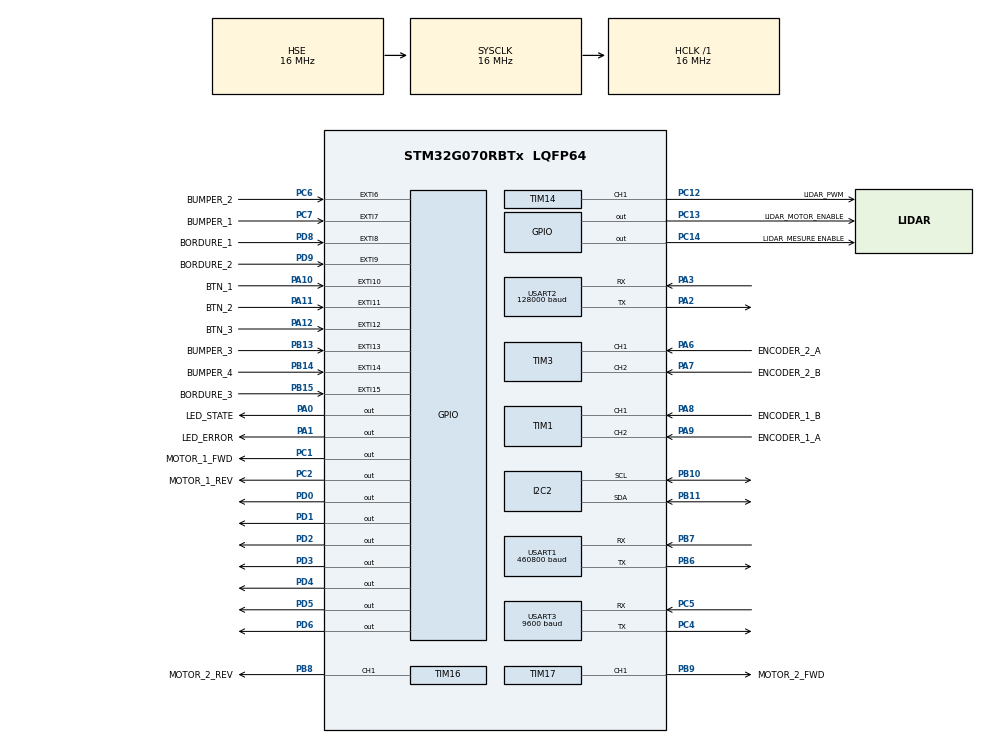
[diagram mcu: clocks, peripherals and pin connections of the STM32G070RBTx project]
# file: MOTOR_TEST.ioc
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Dma.Request0=USART2_RX
Dma.USART2_RX.0.Direction=DMA_PERIPH_TO_MEMORY
Dma.USART2_RX.0.EventEnable=DISABLE
Dma.USART2_RX.0.Instance=DMA1_Channel1
Dma.USART2_RX.0.MemDataAlignment=DMA_MDATAALIGN_BYTE
Dma.USART2_RX.0.MemInc=DMA_MINC_ENABLE
Dma.USART2_RX.0.Mode=DMA_CIRCULAR
Dma.USART2_RX.0.PeriphDataAlignment=DMA_PDATAALIGN_BYTE
Dma.USART2_RX.0.PeriphInc=DMA_PINC_DISABLE
Dma.USART2_RX.0.Polarity=HAL_DMAMUX_REQ_GEN_RISING
Dma.USART2_RX.0.Priority=DMA_PRIORITY_LOW
Dma.USART2_RX.0.RequestNumber=1
Dma.USART2_RX.0.SignalID=NONE
Dma.USART2_RX.0.SyncEnable=DISABLE
Dma.USART2_RX.0.SyncPolarity=HAL_DMAMUX_SYNC_NO_EVENT
Dma.USART2_RX.0.SyncRequestNumber=1
Dma.USART2_RX.0.SyncSignalID=NONE
Mcu.Family=STM32G0
Mcu.Name=STM32G070RBTx
Mcu.Package=LQFP64
NVIC.DMA1_Channel1_IRQn=true\:0\:0\:false\:false\:true\:false\:true\:true
NVIC.EXTI4_15_IRQn=true\:0\:0\:false\:false\:true\:true\:true\:true
NVIC.TIM15_IRQn=true\:3\:0\:false\:false\:true\:false\:true\:true
NVIC.TimeBase=TIM15_IRQn
NVIC.TimeBaseIP=TIM15
NVIC.USART3_4_IRQn=true\:0\:0\:false\:false\:true\:true\:true\:true
PA0.GPIO_Label=LED_STATE
PA0.Signal=GPIO_Output
PA1.GPIO_Label=LED_ERROR
PA1.Signal=GPIO_Output
PA10.GPIO_Label=BTN_1
PA10.GPIO_ModeDefaultEXTI=GPIO_MODE_IT_FALLING
PA10.GPIO_PuPd=GPIO_PULLUP
PA10.Signal=GPXTI10
PA11\ [PA9].GPIO_Label=BTN_2
PA11\ [PA9].GPIO_ModeDefaultEXTI=GPIO_MODE_IT_FALLING
PA11\ [PA9].GPIO_PuPd=GPIO_PULLUP
PA11\ [PA9].Signal=GPXTI11
PA12\ [PA10].GPIO_Label=BTN_3
PA12\ [PA10].GPIO_ModeDefaultEXTI=GPIO_MODE_IT_FALLING
PA12\ [PA10].GPIO_PuPd=GPIO_PULLUP
PA12\ [PA10].Signal=GPXTI12
PA13.Mode=Serial_Wire
PA13.Signal=SYS_SWDIO
PA14-BOOT0.Mode=Serial_Wire
PA14-BOOT0.Signal=SYS_SWCLK
PA2.Mode=Asynchronous
PA2.Signal=USART2_TX
PA3.Mode=Asynchronous
PA3.Signal=USART2_RX
PA6.GPIO_Label=ENCODER_2_A
PA6.Signal=S_TIM3_CH1
PA7.GPIO_Label=ENCODER_2_B
PA7.Signal=S_TIM3_CH2
PA8.GPIO_Label=ENCODER_1_B
PA8.Signal=S_TIM1_CH1
PA9.GPIO_Label=ENCODER_1_A
PA9.Signal=S_TIM1_CH2
PB10.Mode=I2C
PB10.Signal=I2C2_SCL
PB11.Mode=I2C
PB11.Signal=I2C2_SDA
PB13.GPIO_Label=BUMPER_3
PB13.GPIO_ModeDefaultEXTI=GPIO_MODE_IT_FALLING
PB13.Signal=GPXTI13
PB14.GPIO_Label=BUMPER_4
PB14.GPIO_ModeDefaultEXTI=GPIO_MODE_IT_FALLING
PB14.Signal=GPXTI14
PB15.GPIO_Label=BORDURE_3
PB15.GPIO_ModeDefaultEXTI=GPIO_MODE_IT_FALLING
PB15.Signal=GPXTI15
PB6.Mode=Asynchronous
PB6.Signal=USART1_TX
PB7.Mode=Asynchronous
PB7.Signal=USART1_RX
PB8.GPIO_Label=MOTOR_2_REV
PB8.Signal=S_TIM16_CH1
PB9.GPIO_Label=MOTOR_2_FWD
PB9.Signal=S_TIM17_CH1
PC1.GPIO_Label=MOTOR_1_FWD
PC1.Signal=GPIO_Output
PC12.GPIO_Label=LIDAR_PWM
PC12.Signal=S_TIM14_CH1
PC13.GPIO_Label=LIDAR_MOTOR_ENABLE
PC13.Signal=GPIO_Output
PC14-OSC32_IN\ (PC14).GPIO_Label=LIDAR_MESURE ENABLE
PC14-OSC32_IN\ (PC14).Signal=GPIO_Output
PC2.GPIO_Label=MOTOR_1_REV
PC2.Signal=GPIO_Output
PC4.Mode=Asynchronous
PC4.Signal=USART3_TX
PC5.Mode=Asynchronous
PC5.Signal=USART3_RX
PC6.GPIO_Label=BUMPER_2
PC6.GPIO_ModeDefaultEXTI=GPIO_MODE_IT_FALLING
PC6.Signal=GPXTI6
PC7.GPIO_Label=BUMPER_1
PC7.GPIO_ModeDefaultEXTI=GPIO_MODE_IT_FALLING
PC7.Signal=GPXTI7
PD0.Signal=GPIO_Output
PD1.Signal=GPIO_Output
PD2.Signal=GPIO_Output
PD3.Signal=GPIO_Output
PD4.Signal=GPIO_Output
PD5.Signal=GPIO_Output
PD6.Signal=GPIO_Output
PD8.GPIO_Label=BORDURE_1
PD8.GPIO_ModeDefaultEXTI=GPIO_MODE_IT_FALLING
PD8.Signal=GPXTI8
PD9.GPIO_Label=BORDURE_2
PD9.GPIO_ModeDefaultEXTI=GPIO_MODE_IT_FALLING
PD9.Signal=GPXTI9
PF0-OSC_IN\ (PF0).Mode=HSE-External-Oscillator
PF0-OSC_IN\ (PF0).Signal=RCC_OSC_IN
PF1-OSC_OUT\ (PF1).Mode=HSE-External-Oscillator
PF1-OSC_OUT\ (PF1).Signal=RCC_OSC_OUT
ProjectManager.HeapSize=0x200
ProjectManager.StackSize=0x400
ProjectManager.TargetToolchain=STM32CubeIDE
RCC.ADCFreq_Value=16000000
RCC.AHBFreq_Value=16000000
RCC.CortexFreq_Value=16000000
RCC.EXTERNAL_CLOCK_VALUE=48000
RCC.HCLKFreq_Value=16000000
RCC.HSE_VALUE=16000000
RCC.HSI_VALUE=16000000
RCC.LSE_VALUE=32768
RCC.PLLSourceVirtual=RCC_PLLSOURCE_HSE
RCC.SYSCLKFreq_VALUE=16000000
RCC.SYSCLKSource=RCC_SYSCLKSOURCE_HSE
RCC.VCOOutputFreq_Value=128000000
SH.S_TIM14_CH1.0=TIM14_CH1,PWM Generation1 CH1
SH.S_TIM16_CH1.0=TIM16_CH1,PWM Generation1 CH1
SH.S_TIM17_CH1.0=TIM17_CH1,PWM Generation1 CH1
SH.S_TIM1_CH1.0=TIM1_CH1,Encoder_Interface
SH.S_TIM1_CH2.0=TIM1_CH2,Encoder_Interface
SH.S_TIM3_CH1.0=TIM3_CH1,Encoder_Interface
SH.S_TIM3_CH2.0=TIM3_CH2,Encoder_Interface
TIM14.Channel=TIM_CHANNEL_1
TIM16.Channel=TIM_CHANNEL_1
TIM16.Period=127
TIM16.Prescaler=4
TIM17.Channel=TIM_CHANNEL_1
TIM17.Prescaler=4
USART1.BaudRate=460800
USART1.VirtualMode-Asynchronous=VM_ASYNC
USART2.BaudRate=128000
USART2.VirtualMode-Asynchronous=VM_ASYNC
USART3.BaudRate=9600
USART3.VirtualMode-Asynchronous=VM_ASYNC
VP_SYS_VS_DBSignals.Mode=DisableDeadBatterySignals
VP_SYS_VS_tim15.Mode=TIM15
VP_TIM14_VS_ClockSourceINT.Mode=Enable_Timer
VP_TIM16_VS_ClockSourceINT.Mode=Enable_Timer
VP_TIM17_VS_ClockSourceINT.Mode=Enable_Timer
VP_TIM6_VS_ClockSourceINT.Mode=Enable_Timer
VP_TIM7_VS_ClockSourceINT.Mode=Enable_Timer
board=custom

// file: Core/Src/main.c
/* USER CODE BEGIN Header */
/**
  ******************************************************************************
  * @file           : main.c
  * @brief          : Main program body
  ******************************************************************************
  * @attention
  *
  * Copyright (c) 2024 STMicroelectronics.
  * All rights reserved.
  *
  * This software is licensed under terms that can be found in the LICENSE file
  * in the root directory of this software component.
  * If no LICENSE file comes with this software, it is provided AS-IS.
  *
  ******************************************************************************
  */
/* USER CODE END Header */
#include "main.h"
#include "dma.h"
#include "i2c.h"
#include "tim.h"
#include "usart.h"
#include "gpio.h"

/* USER CODE BEGIN Includes */
#include "../../MOTOR/motor_driver.h"
/* USER CODE END Includes */

void SystemClock_Config(void);

/* USER CODE BEGIN 0 */
typedef enum robot_state{
	IDLE,
	CAT,
	MOUSE,
	AVOID_EDGE,

}robot_state_t;
/* USER CODE END 0 */

int main(void)
{

  /* MCU Configuration--------------------------------------------------------*/

  /* Reset of all peripherals, Initializes the Flash interface and the Systick. */
  HAL_Init();

  /* Configure the system clock */
  SystemClock_Config();

  /* Initialize all configured peripherals */
  MX_GPIO_Init();
  MX_DMA_Init();
  MX_I2C2_Init();
  MX_TIM1_Init();
  MX_TIM3_Init();
  MX_TIM6_Init();
  MX_TIM7_Init();
  MX_TIM14_Init();
  MX_TIM16_Init();
  MX_TIM17_Init();
  MX_USART1_UART_Init();
  MX_USART3_UART_Init();
  MX_USART2_UART_Init();
  /* USER CODE BEGIN 2 */
	robot_state_t state = IDLE;
	motor_t L_motor;
	motor_t R_motor;
	init_motors(&L_motor, &R_motor);

	forward_mode(0, &R_motor);
	HAL_Delay(5000);
	standby_mode(&R_motor);

	forward_mode(0, &L_motor);
	HAL_Delay(5000);
	standby_mode(&L_motor);

	stop();

  /* USER CODE END 2 */

  /* Infinite loop */
  while (1)
  {

  }
}

void SystemClock_Config(void)
{
  RCC_OscInitTypeDef RCC_OscInitStruct = {0};
  RCC_ClkInitTypeDef RCC_ClkInitStruct = {0};

  /** Configure the main internal regulator output voltage
  */
  HAL_PWREx_ControlVoltageScaling(PWR_REGULATOR_VOLTAGE_SCALE1);

  /** Initializes the RCC Oscillators according to the specified parameters
  * in the RCC_OscInitTypeDef structure.
  */
  RCC_OscInitStruct.OscillatorType = RCC_OSCILLATORTYPE_HSE;
  RCC_OscInitStruct.HSEState = RCC_HSE_ON;
  RCC_OscInitStruct.PLL.PLLState = RCC_PLL_NONE;
  if (HAL_RCC_OscConfig(&RCC_OscInitStruct) != HAL_OK)
  {
    Error_Handler();
  }

  /** Initializes the CPU, AHB and APB buses clocks
  */
  RCC_ClkInitStruct.ClockType = RCC_CLOCKTYPE_HCLK|RCC_CLOCKTYPE_SYSCLK
                              |RCC_CLOCKTYPE_PCLK1;
  RCC_ClkInitStruct.SYSCLKSource = RCC_SYSCLKSOURCE_HSE;
  RCC_ClkInitStruct.AHBCLKDivider = RCC_SYSCLK_DIV1;
  RCC_ClkInitStruct.APB1CLKDivider = RCC_HCLK_DIV1;

  if (HAL_RCC_ClockConfig(&RCC_ClkInitStruct, FLASH_LATENCY_0) != HAL_OK)
  {
    Error_Handler();
  }
}

void HAL_TIM_PeriodElapsedCallback(TIM_HandleTypeDef *htim)
{
  if (htim->Instance == TIM15) {
    HAL_IncTick();
  }
}

void Error_Handler(void)
{
  __disable_irq();
  while (1)
  {
  }
}
